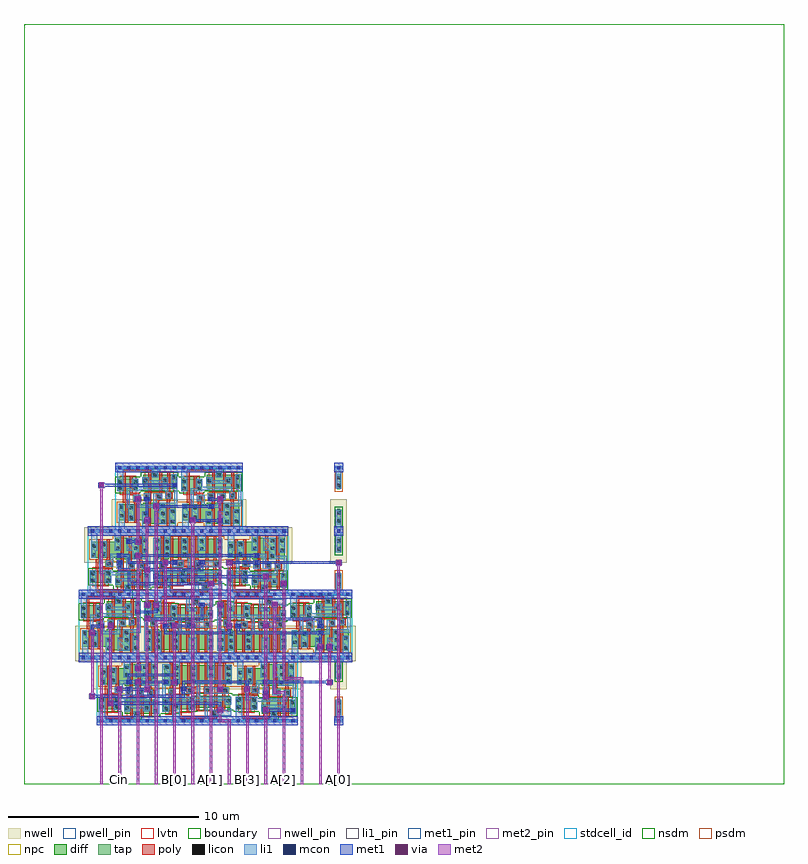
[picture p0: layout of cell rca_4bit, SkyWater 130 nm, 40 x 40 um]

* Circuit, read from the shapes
.subckt rca_4bit A[0] A[1] A[2] A[3] B[0] B[1] B[2] B[3] Cin Cout S[0] S[1] S[2] S[3] VGND VPB VPWR
XM1 n1 A[3] VGND VGND sky130_fd_pr__nfet_01v8_lvt w=0.64 l=0.15
XM2 n2 B[3] n1 VGND sky130_fd_pr__nfet_01v8_lvt w=0.64 l=0.15
XM3 n3 A[1] VGND VGND sky130_fd_pr__nfet_01v8_lvt w=0.64 l=0.15
XM4 n4 B[1] n3 VGND sky130_fd_pr__nfet_01v8_lvt w=0.64 l=0.15
XM5 n5 Cin VGND VGND sky130_fd_pr__nfet_01v8_lvt w=0.64 l=0.15
XM6 n6 B[0] n5 VGND sky130_fd_pr__nfet_01v8_lvt w=0.64 l=0.15
XM7 VGND A[3] n7 VGND sky130_fd_pr__nfet_01v8_lvt w=0.74 l=0.15
XM8 VGND A[1] n8 VGND sky130_fd_pr__nfet_01v8_lvt w=0.74 l=0.15
XM9 n7 B[3] VGND VGND sky130_fd_pr__nfet_01v8_lvt w=0.74 l=0.15
XM10 n9 sky130_fd_sc_hs__xnor2_1_12/A VGND VGND sky130_fd_pr__nfet_01v8_lvt w=0.64 l=0.15
XM11 n10 sky130_fd_sc_hs__xnor2_1_12/B n9 VGND sky130_fd_pr__nfet_01v8_lvt w=0.64 l=0.15
XM12 VGND Cin n11 VGND sky130_fd_pr__nfet_01v8_lvt w=0.74 l=0.15
XM13 sky130_fd_sc_hs__xnor2_1_13/B n2 n7 VGND sky130_fd_pr__nfet_01v8_lvt w=0.74 l=0.15
XM14 n8 B[1] VGND VGND sky130_fd_pr__nfet_01v8_lvt w=0.74 l=0.15
XM15 sky130_fd_sc_hs__xnor2_1_12/B n4 n8 VGND sky130_fd_pr__nfet_01v8_lvt w=0.74 l=0.15
XM16 n11 B[0] VGND VGND sky130_fd_pr__nfet_01v8_lvt w=0.74 l=0.15
XM17 VGND sky130_fd_sc_hs__xnor2_1_12/A n12 VGND sky130_fd_pr__nfet_01v8_lvt w=0.74 l=0.15
XM18 sky130_fd_sc_hs__xnor2_1_10/B n6 n11 VGND sky130_fd_pr__nfet_01v8_lvt w=0.74 l=0.15
XM19 VGND n13 sky130_fd_sc_hs__xnor2_1_12/A VGND sky130_fd_pr__nfet_01v8_lvt w=0.74 l=0.15
XM20 n12 sky130_fd_sc_hs__xnor2_1_12/B VGND VGND sky130_fd_pr__nfet_01v8_lvt w=0.74 l=0.15
XM21 VGND n14 sky130_fd_sc_hs__xnor2_1_5/A VGND sky130_fd_pr__nfet_01v8_lvt w=0.74 l=0.15
XM22 n15 Cin VGND VGND sky130_fd_pr__nfet_01v8_lvt w=0.64 l=0.15
XM23 S[1] n10 n12 VGND sky130_fd_pr__nfet_01v8_lvt w=0.74 l=0.15
XM24 n13 A[0] n15 VGND sky130_fd_pr__nfet_01v8_lvt w=0.64 l=0.15
XM25 VGND n16 Cout VGND sky130_fd_pr__nfet_01v8_lvt w=0.74 l=0.15
XM26 n17 A[1] VGND VGND sky130_fd_pr__nfet_01v8_lvt w=0.64 l=0.15
XM27 n14 B[1] n17 VGND sky130_fd_pr__nfet_01v8_lvt w=0.64 l=0.15
XM28 n18 A[0] n13 VGND sky130_fd_pr__nfet_01v8_lvt w=0.64 l=0.15
XM29 n19 A[3] VGND VGND sky130_fd_pr__nfet_01v8_lvt w=0.64 l=0.15
XM30 VGND B[0] n18 VGND sky130_fd_pr__nfet_01v8_lvt w=0.64 l=0.15
XM31 n16 B[3] n19 VGND sky130_fd_pr__nfet_01v8_lvt w=0.64 l=0.15
XM32 n20 sky130_fd_sc_hs__xnor2_1_13/A VGND VGND sky130_fd_pr__nfet_01v8_lvt w=0.64 l=0.15
XM33 n21 B[1] n14 VGND sky130_fd_pr__nfet_01v8_lvt w=0.64 l=0.15
XM34 n22 sky130_fd_sc_hs__xnor2_1_13/B n20 VGND sky130_fd_pr__nfet_01v8_lvt w=0.64 l=0.15
XM35 VGND sky130_fd_sc_hs__xnor2_1_12/A n21 VGND sky130_fd_pr__nfet_01v8_lvt w=0.64 l=0.15
XM36 n23 B[3] n16 VGND sky130_fd_pr__nfet_01v8_lvt w=0.64 l=0.15
XM37 n24 Cin VGND VGND sky130_fd_pr__nfet_01v8_lvt w=0.64 l=0.15
XM38 VGND sky130_fd_sc_hs__xnor2_1_13/A n23 VGND sky130_fd_pr__nfet_01v8_lvt w=0.64 l=0.15
XM39 n13 B[0] n24 VGND sky130_fd_pr__nfet_01v8_lvt w=0.64 l=0.15
XM40 n25 A[1] VGND VGND sky130_fd_pr__nfet_01v8_lvt w=0.64 l=0.15
XM41 VGND sky130_fd_sc_hs__xnor2_1_13/A n26 VGND sky130_fd_pr__nfet_01v8_lvt w=0.74 l=0.15
XM42 n14 sky130_fd_sc_hs__xnor2_1_12/A n25 VGND sky130_fd_pr__nfet_01v8_lvt w=0.64 l=0.15
XM43 n27 A[3] VGND VGND sky130_fd_pr__nfet_01v8_lvt w=0.64 l=0.15
XM44 n16 sky130_fd_sc_hs__xnor2_1_13/A n27 VGND sky130_fd_pr__nfet_01v8_lvt w=0.64 l=0.15
XM45 n26 sky130_fd_sc_hs__xnor2_1_13/B VGND VGND sky130_fd_pr__nfet_01v8_lvt w=0.74 l=0.15
XM46 VGND n28 sky130_fd_sc_hs__xnor2_1_13/A VGND sky130_fd_pr__nfet_01v8_lvt w=0.74 l=0.15
XM47 S[3] n22 n26 VGND sky130_fd_pr__nfet_01v8_lvt w=0.74 l=0.15
XM48 n29 A[0] VGND VGND sky130_fd_pr__nfet_01v8_lvt w=0.64 l=0.15
XM49 n30 A[2] VGND VGND sky130_fd_pr__nfet_01v8_lvt w=0.64 l=0.15
XM50 n31 sky130_fd_sc_hs__xnor2_1_10/B n29 VGND sky130_fd_pr__nfet_01v8_lvt w=0.64 l=0.15
XM51 n28 B[2] n30 VGND sky130_fd_pr__nfet_01v8_lvt w=0.64 l=0.15
XM52 n32 sky130_fd_sc_hs__xnor2_1_5/A VGND VGND sky130_fd_pr__nfet_01v8_lvt w=0.64 l=0.15
XM53 n33 sky130_fd_sc_hs__xnor2_1_5/B n32 VGND sky130_fd_pr__nfet_01v8_lvt w=0.64 l=0.15
XM54 n34 B[2] n28 VGND sky130_fd_pr__nfet_01v8_lvt w=0.64 l=0.15
XM55 VGND A[0] n35 VGND sky130_fd_pr__nfet_01v8_lvt w=0.74 l=0.15
XM56 VGND sky130_fd_sc_hs__xnor2_1_5/A n34 VGND sky130_fd_pr__nfet_01v8_lvt w=0.64 l=0.15
XM57 VGND sky130_fd_sc_hs__xnor2_1_5/A n36 VGND sky130_fd_pr__nfet_01v8_lvt w=0.74 l=0.15
XM58 n35 sky130_fd_sc_hs__xnor2_1_10/B VGND VGND sky130_fd_pr__nfet_01v8_lvt w=0.74 l=0.15
XM59 n37 A[2] VGND VGND sky130_fd_pr__nfet_01v8_lvt w=0.64 l=0.15
XM60 S[0] n31 n35 VGND sky130_fd_pr__nfet_01v8_lvt w=0.74 l=0.15
XM61 n28 sky130_fd_sc_hs__xnor2_1_5/A n37 VGND sky130_fd_pr__nfet_01v8_lvt w=0.64 l=0.15
XM62 n36 sky130_fd_sc_hs__xnor2_1_5/B VGND VGND sky130_fd_pr__nfet_01v8_lvt w=0.74 l=0.15
XM63 S[2] n33 n36 VGND sky130_fd_pr__nfet_01v8_lvt w=0.74 l=0.15
XM64 n38 A[2] VGND VGND sky130_fd_pr__nfet_01v8_lvt w=0.64 l=0.15
XM65 n39 B[2] n38 VGND sky130_fd_pr__nfet_01v8_lvt w=0.64 l=0.15
XM66 VGND A[2] n40 VGND sky130_fd_pr__nfet_01v8_lvt w=0.74 l=0.15
XM67 n40 B[2] VGND VGND sky130_fd_pr__nfet_01v8_lvt w=0.74 l=0.15
XM68 sky130_fd_sc_hs__xnor2_1_5/B n39 n40 VGND sky130_fd_pr__nfet_01v8_lvt w=0.74 l=0.15
XM69 n2 A[3] VPB VPB sky130_fd_pr__pfet_01v8 w=0.84 l=0.15
XM70 VPB B[3] n2 VPB sky130_fd_pr__pfet_01v8 w=0.84 l=0.15
XM71 n4 A[1] VPWR VPB sky130_fd_pr__pfet_01v8 w=0.84 l=0.15
XM72 VPWR B[1] n4 VPB sky130_fd_pr__pfet_01v8 w=0.84 l=0.15
XM73 n6 Cin VPB VPB sky130_fd_pr__pfet_01v8 w=0.84 l=0.15
XM74 n41 A[3] VPB VPB sky130_fd_pr__pfet_01v8 w=1.12 l=0.15
XM75 VPB B[0] n6 VPB sky130_fd_pr__pfet_01v8 w=0.84 l=0.15
XM76 sky130_fd_sc_hs__xnor2_1_13/B B[3] n41 VPB sky130_fd_pr__pfet_01v8 w=1.12 l=0.15
XM77 n42 A[1] VPWR VPB sky130_fd_pr__pfet_01v8 w=1.12 l=0.15
XM78 n10 sky130_fd_sc_hs__xnor2_1_12/A VPWR VPB sky130_fd_pr__pfet_01v8 w=0.84 l=0.15
XM79 sky130_fd_sc_hs__xnor2_1_12/B B[1] n42 VPB sky130_fd_pr__pfet_01v8 w=1.12 l=0.15
XM80 n43 Cin VPB VPB sky130_fd_pr__pfet_01v8 w=1.12 l=0.15
XM81 VPB n2 sky130_fd_sc_hs__xnor2_1_13/B VPB sky130_fd_pr__pfet_01v8 w=1.12 l=0.15
XM82 VPWR sky130_fd_sc_hs__xnor2_1_12/B n10 VPB sky130_fd_pr__pfet_01v8 w=0.84 l=0.15
XM83 sky130_fd_sc_hs__xnor2_1_10/B B[0] n43 VPB sky130_fd_pr__pfet_01v8 w=1.12 l=0.15
XM84 VPWR n4 sky130_fd_sc_hs__xnor2_1_12/B VPB sky130_fd_pr__pfet_01v8 w=1.12 l=0.15
XM85 n44 sky130_fd_sc_hs__xnor2_1_12/A VPWR VPB sky130_fd_pr__pfet_01v8 w=1.12 l=0.15
XM86 VPB n6 sky130_fd_sc_hs__xnor2_1_10/B VPB sky130_fd_pr__pfet_01v8 w=1.12 l=0.15
XM87 VPB n13 sky130_fd_sc_hs__xnor2_1_12/A VPB sky130_fd_pr__pfet_01v8 w=1.12 l=0.15
XM88 S[1] sky130_fd_sc_hs__xnor2_1_12/B n44 VPB sky130_fd_pr__pfet_01v8 w=1.12 l=0.15
XM89 VPWR n14 sky130_fd_sc_hs__xnor2_1_5/A VPB sky130_fd_pr__pfet_01v8 w=1.12 l=0.15
XM90 n45 Cin VPB VPB sky130_fd_pr__pfet_01v8 w=1 l=0.15
XM91 VPWR n10 S[1] VPB sky130_fd_pr__pfet_01v8 w=1.12 l=0.15
XM92 n13 A[0] n45 VPB sky130_fd_pr__pfet_01v8 w=1 l=0.15
XM93 VPB n16 Cout VPB sky130_fd_pr__pfet_01v8 w=1.12 l=0.15
XM94 n46 A[1] VPWR VPB sky130_fd_pr__pfet_01v8 w=1 l=0.15
XM95 n47 A[0] n13 VPB sky130_fd_pr__pfet_01v8 w=1 l=0.15
XM96 n14 B[1] n46 VPB sky130_fd_pr__pfet_01v8 w=1 l=0.15
XM97 n48 A[3] VPB VPB sky130_fd_pr__pfet_01v8 w=1 l=0.15
XM98 VPB B[0] n47 VPB sky130_fd_pr__pfet_01v8 w=1 l=0.15
XM99 n16 B[3] n48 VPB sky130_fd_pr__pfet_01v8 w=1 l=0.15
XM100 n49 B[1] n14 VPB sky130_fd_pr__pfet_01v8 w=1 l=0.15
XM101 n22 sky130_fd_sc_hs__xnor2_1_13/A VPWR VPB sky130_fd_pr__pfet_01v8 w=0.84 l=0.15
XM102 VPWR sky130_fd_sc_hs__xnor2_1_12/A n49 VPB sky130_fd_pr__pfet_01v8 w=1 l=0.15
XM103 n50 B[3] n16 VPB sky130_fd_pr__pfet_01v8 w=1 l=0.15
XM104 n51 Cin VPB VPB sky130_fd_pr__pfet_01v8 w=1 l=0.15
XM105 VPWR sky130_fd_sc_hs__xnor2_1_13/B n22 VPB sky130_fd_pr__pfet_01v8 w=0.84 l=0.15
XM106 VPB sky130_fd_sc_hs__xnor2_1_13/A n50 VPB sky130_fd_pr__pfet_01v8 w=1 l=0.15
XM107 n13 B[0] n51 VPB sky130_fd_pr__pfet_01v8 w=1 l=0.15
XM108 n52 A[1] VPWR VPB sky130_fd_pr__pfet_01v8 w=1 l=0.15
XM109 n53 sky130_fd_sc_hs__xnor2_1_13/A VPWR VPB sky130_fd_pr__pfet_01v8 w=1.12 l=0.15
XM110 n14 sky130_fd_sc_hs__xnor2_1_12/A n52 VPB sky130_fd_pr__pfet_01v8 w=1 l=0.15
XM111 n54 A[3] VPB VPB sky130_fd_pr__pfet_01v8 w=1 l=0.15
XM112 S[3] sky130_fd_sc_hs__xnor2_1_13/B n53 VPB sky130_fd_pr__pfet_01v8 w=1.12 l=0.15
XM113 n16 sky130_fd_sc_hs__xnor2_1_13/A n54 VPB sky130_fd_pr__pfet_01v8 w=1 l=0.15
XM114 VPB n28 sky130_fd_sc_hs__xnor2_1_13/A VPB sky130_fd_pr__pfet_01v8 w=1.12 l=0.15
XM115 VPWR n22 S[3] VPB sky130_fd_pr__pfet_01v8 w=1.12 l=0.15
XM116 n55 A[2] VPB VPB sky130_fd_pr__pfet_01v8 w=1 l=0.15
XM117 n31 A[0] VPWR VPB sky130_fd_pr__pfet_01v8 w=0.84 l=0.15
XM118 n28 B[2] n55 VPB sky130_fd_pr__pfet_01v8 w=1 l=0.15
XM119 VPWR sky130_fd_sc_hs__xnor2_1_10/B n31 VPB sky130_fd_pr__pfet_01v8 w=0.84 l=0.15
XM120 n33 sky130_fd_sc_hs__xnor2_1_5/A VPB VPB sky130_fd_pr__pfet_01v8 w=0.84 l=0.15
XM121 n56 B[2] n28 VPB sky130_fd_pr__pfet_01v8 w=1 l=0.15
XM122 VPB sky130_fd_sc_hs__xnor2_1_5/B n33 VPB sky130_fd_pr__pfet_01v8 w=0.84 l=0.15
XM123 n57 A[0] VPWR VPB sky130_fd_pr__pfet_01v8 w=1.12 l=0.15
XM124 VPB sky130_fd_sc_hs__xnor2_1_5/A n56 VPB sky130_fd_pr__pfet_01v8 w=1 l=0.15
XM125 S[0] sky130_fd_sc_hs__xnor2_1_10/B n57 VPB sky130_fd_pr__pfet_01v8 w=1.12 l=0.15
XM126 n58 sky130_fd_sc_hs__xnor2_1_5/A VPB VPB sky130_fd_pr__pfet_01v8 w=1.12 l=0.15
XM127 n59 A[2] VPB VPB sky130_fd_pr__pfet_01v8 w=1 l=0.15
XM128 S[2] sky130_fd_sc_hs__xnor2_1_5/B n58 VPB sky130_fd_pr__pfet_01v8 w=1.12 l=0.15
XM129 VPWR n31 S[0] VPB sky130_fd_pr__pfet_01v8 w=1.12 l=0.15
XM130 n28 sky130_fd_sc_hs__xnor2_1_5/A n59 VPB sky130_fd_pr__pfet_01v8 w=1 l=0.15
XM131 VPB n33 S[2] VPB sky130_fd_pr__pfet_01v8 w=1.12 l=0.15
XM132 n39 A[2] VPB VPB sky130_fd_pr__pfet_01v8 w=0.84 l=0.15
XM133 VPB B[2] n39 VPB sky130_fd_pr__pfet_01v8 w=0.84 l=0.15
XM134 n60 A[2] VPB VPB sky130_fd_pr__pfet_01v8 w=1.12 l=0.15
XM135 sky130_fd_sc_hs__xnor2_1_5/B B[2] n60 VPB sky130_fd_pr__pfet_01v8 w=1.12 l=0.15
XM136 VPB n39 sky130_fd_sc_hs__xnor2_1_5/B VPB sky130_fd_pr__pfet_01v8 w=1.12 l=0.15
.ends

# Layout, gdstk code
import gdstk
lib = gdstk.Library(unit=1e-6, precision=1e-09)
def R(c, l, rs):  # rectangles x0, y0, x1, y1
    for r in rs: c.add(gdstk.rectangle(r[:2], r[2:], *l))
def A(c, l, x, y, w, h, nx, ny, dx, dy):  # array of equal rectangles
    R(c, l, [(x+i*dx, y+j*dy, x+i*dx+w, y+j*dy+h) for i in range(nx) for j in range(ny)])
nwell_pin = (64, 16)
nwell = (64, 20)
diff = (65, 20)
tap = (65, 44)
poly = (66, 20)
licon = (66, 44)
li1_pin = (67, 16)
li1 = (67, 20)
mcon = (67, 44)
met1_pin = (68, 16)
met1 = (68, 20)
via = (68, 44)
met2_pin = (69, 16)
met2 = (69, 20)
stdcell_id = (81, 4)
nsdm = (93, 44)
psdm = (94, 20)
npc = (95, 20)
pwell_pin = (122, 16)
lvtn = (125, 44)
boundary = (235, 4)

sky130_fd_sc_hs__maj3_1 = lib.new_cell('sky130_fd_sc_hs__maj3_1')
R(sky130_fd_sc_hs__maj3_1, nwell_pin, [(0,3.085,3.84,3.33)])
R(sky130_fd_sc_hs__maj3_1, nwell, [(-0.19,1.66,4.03,3.52)])
R(sky130_fd_sc_hs__maj3_1, diff, [(0.135,0.5,0.82,0.6), (0.135,0.6,1.79,0.68), (0.135,0.68,3.645,0.86), (0.135,0.86,3.68,1.16), (0.17,1.16,3.68,1.24), (1.615,1.24,3.645,1.32), (0.18,1.84,0.89,1.92), (0.18,1.92,3.705,2.92), (0.18,2.92,0.89,2.96)])
R(sky130_fd_sc_hs__maj3_1, poly, [(0.965,0.11,2.975,0.26), (0.965,0.26,1.115,1.315), (2.645,0.26,2.975,0.57), (0.42,0.37,0.57,1.35), (1.355,0.47,1.505,1.43), (1.865,0.55,2.015,1.43), (2.255,0.55,2.405,1.4), (3.245,0.55,3.395,1.43), (2.825,0.57,2.975,1.395), (0.965,1.315,1.145,1.845), (0.42,1.35,0.755,1.68), (2.825,1.395,3.005,1.845), (2.255,1.4,2.615,1.76), (1.355,1.43,2.045,1.76), (3.245,1.43,3.575,1.76), (0.46,1.68,0.64,1.765), (1.385,1.76,1.565,1.845), (1.865,1.76,2.045,1.845), (2.285,1.76,2.465,1.845), (3.245,1.76,3.425,1.845), (0.475,1.765,0.625,3.09), (0.98,1.845,1.13,3.05), (1.4,1.845,1.55,3.05), (1.88,1.845,2.03,3.05), (2.3,1.845,2.45,3.05), (2.84,1.845,2.99,3.05), (3.26,1.845,3.41,3.05)])
A(sky130_fd_sc_hs__maj3_1, licon, 0.24, 1.93, 0.17, 0.17, 1, 3, 0, 0.4)
A(sky130_fd_sc_hs__maj3_1, licon, 0.74, 2.01, 0.17, 0.17, 1, 3, 0, 0.34)
A(sky130_fd_sc_hs__maj3_1, licon, 1.645, 2.01, 0.17, 0.17, 1, 3, 0, 0.34)
A(sky130_fd_sc_hs__maj3_1, licon, 3.475, 2.01, 0.17, 0.17, 1, 3, 0, 0.34)
R(sky130_fd_sc_hs__maj3_1, licon, [(2.725,0.32,2.895,0.49), (0.195,0.56,0.365,0.73), (1.56,0.66,1.73,0.83), (0.715,0.685,0.885,0.855), (2.53,0.74,2.7,0.91), (0.195,0.93,0.365,1.1), (3.45,0.965,3.62,1.135), (1.56,1.01,1.73,1.18), (0.505,1.43,0.675,1.6), (1.435,1.51,1.605,1.68), (2.365,1.51,2.535,1.68), (3.325,1.51,3.495,1.68), (2.555,2.29,2.725,2.46), (2.555,2.69,2.725,2.86)])
A(sky130_fd_sc_hs__maj3_1, li1_pin, 0.155, 1.95, 0.17, 0.17, 1, 3, 0, 0.37)
R(sky130_fd_sc_hs__maj3_1, li1_pin, [(3.515,0.47,3.685,0.64), (1.115,1.58,1.285,1.75), (2.555,1.58,2.725,1.75)])
R(sky130_fd_sc_hs__maj3_1, li1, [(0,-0.085,3.84,0.085), (0.615,0.085,0.99,0.91), (2.305,0.085,2.475,0.74), (2.645,0.255,3.715,0.57), (0.085,0.48,0.445,1.18), (3.485,0.57,3.715,0.67), (1.48,0.58,1.81,1.09), (2.305,0.74,2.85,0.91), (3.37,0.84,3.7,1.09), (0.615,1.09,3.7,1.26), (0.085,1.18,0.255,1.85), (0.615,1.26,0.785,1.35), (1.895,1.26,2.065,1.95), (0.425,1.35,0.785,1.68), (1.085,1.43,1.685,1.78), (2.285,1.43,3.575,1.76), (2.285,1.76,2.755,1.78), (0.085,1.85,0.49,2.98), (3.395,1.93,3.725,1.95), (0.66,1.95,0.99,3.245), (1.565,1.95,3.725,2.12), (1.565,2.12,1.895,2.94), (3.395,2.12,3.725,2.94), (2.435,2.29,2.84,3.245), (0,3.245,3.84,3.415)])
A(sky130_fd_sc_hs__maj3_1, mcon, 0.155, -0.085, 0.17, 0.17, 8, 2, 0.48, 3.33)
R(sky130_fd_sc_hs__maj3_1, met1_pin, [(0,0,3.84,0.245), (0,3.085,3.84,3.33)])
R(sky130_fd_sc_hs__maj3_1, met1, [(0,-0.245,3.84,0.245), (0,3.085,3.84,3.575)])
R(sky130_fd_sc_hs__maj3_1, stdcell_id, [(0,0,3.84,3.33)])
R(sky130_fd_sc_hs__maj3_1, nsdm, [(0.01,0.375,0.945,0.475), (0.01,0.475,1.915,0.555), (0.01,0.555,3.77,0.735), (0.01,0.735,3.805,1.285), (0.045,1.285,3.805,1.365), (1.49,1.365,3.77,1.445)])
R(sky130_fd_sc_hs__maj3_1, psdm, [(0.055,1.715,1.015,1.795), (0.055,1.795,3.83,3.045), (0.055,3.045,1.015,3.085)])
R(sky130_fd_sc_hs__maj3_1, npc, [(2.625,0.22,2.995,0.59), (0.405,1.33,0.775,1.7), (1.335,1.41,1.705,1.78), (2.265,1.41,2.635,1.78), (3.225,1.41,3.595,1.78)])
R(sky130_fd_sc_hs__maj3_1, pwell_pin, [(0,0,3.84,0.245)])
R(sky130_fd_sc_hs__maj3_1, lvtn, [(0.24,0.32,0.75,0.42), (0.24,0.42,1.685,0.5), (0.24,0.5,3.575,1.42), (1.685,1.42,3.575,1.5)])
R(sky130_fd_sc_hs__maj3_1, boundary, [(0,0,3.84,3.33)])
sky130_fd_sc_hs__maj3_1.add(gdstk.Label('VNB', (1.92,0.122), layer=64, texttype=59))
sky130_fd_sc_hs__maj3_1.add(gdstk.Label('VPB', (1.92,3.207), layer=64, texttype=5))
sky130_fd_sc_hs__maj3_1.add(gdstk.Label('VPWR', (1.92,3.207), layer=68, texttype=5))
sky130_fd_sc_hs__maj3_1.add(gdstk.Label('VGND', (1.92,0.122), layer=68, texttype=5))
sky130_fd_sc_hs__maj3_1.add(gdstk.Label('A', (3.6,0.555), layer=67, texttype=5))
sky130_fd_sc_hs__maj3_1.add(gdstk.Label('B', (1.2,1.665), layer=67, texttype=5))
sky130_fd_sc_hs__maj3_1.add(gdstk.Label('X', (0.24,2.775), layer=67, texttype=5))
sky130_fd_sc_hs__maj3_1.add(gdstk.Label('X', (0.24,2.405), layer=67, texttype=5))
sky130_fd_sc_hs__maj3_1.add(gdstk.Label('X', (0.24,2.035), layer=67, texttype=5))
sky130_fd_sc_hs__maj3_1.add(gdstk.Label('C', (2.64,1.665), layer=67, texttype=5))

sky130_fd_sc_hs__xnor2_1 = lib.new_cell('sky130_fd_sc_hs__xnor2_1')
R(sky130_fd_sc_hs__xnor2_1, nwell_pin, [(0,3.085,3.36,3.33)])
R(sky130_fd_sc_hs__xnor2_1, nwell, [(-0.19,1.66,3.55,3.52)])
R(sky130_fd_sc_hs__xnor2_1, diff, [(1.965,0.19,2.24,0.37), (1.465,0.37,3.205,1.11), (0.135,0.595,1.195,1.235), (1.465,1.84,3.165,1.925), (0.195,1.925,3.165,2.765), (1.435,2.765,3.165,2.96)])
R(sky130_fd_sc_hs__xnor2_1, poly, [(0.41,0.105,1.89,0.255), (2.315,0.24,2.465,1.35), (2.745,0.24,2.895,1.3), (0.41,0.255,0.56,1.7), (1.74,0.255,1.89,1.35), (0.77,0.465,0.92,1.31), (2.675,1.3,3.005,1.63), (0.77,1.31,1.275,1.46), (1.515,1.35,1.895,1.68), (2.135,1.35,2.465,1.68), (0.945,1.46,1.275,1.765), (2.705,1.63,2.885,1.765), (1.715,1.68,1.895,1.765), (2.135,1.68,2.315,1.765), (0.41,1.7,0.705,1.85), (0.975,1.765,1.155,1.85), (1.73,1.765,1.88,3.09), (2.15,1.765,2.3,3.09), (2.72,1.765,2.87,3.09), (0.54,1.85,0.69,2.895), (0.99,1.85,1.14,2.895)])
A(sky130_fd_sc_hs__xnor2_1, licon, 2.435, 1.93, 0.17, 0.17, 1, 3, 0, 0.4)
R(sky130_fd_sc_hs__xnor2_1, licon, [(2.015,0.285,2.185,0.455), (2.975,0.43,3.145,0.6), (1.515,0.59,1.685,0.76), (2.52,0.59,2.69,0.76), (0.185,0.655,0.355,0.825), (0.975,0.655,1.145,0.825), (2.975,0.88,3.145,1.05), (0.185,1.005,0.355,1.175), (0.975,1.005,1.145,1.175), (2.755,1.38,2.925,1.55), (1.595,1.43,1.765,1.6), (2.215,1.43,2.385,1.6), (1.025,1.515,1.195,1.685), (0.255,1.985,0.425,2.155), (0.755,2.03,0.925,2.2), (2.935,2.215,3.105,2.385), (1.495,2.33,1.665,2.5), (0.255,2.45,0.425,2.62), (0.755,2.535,0.925,2.705), (1.495,2.73,1.665,2.9), (2.935,2.73,3.105,2.9)])
R(sky130_fd_sc_hs__xnor2_1, li1_pin, [(1.115,1.58,1.285,1.75), (1.595,1.58,1.765,1.75), (2.075,2.32,2.245,2.49)])
R(sky130_fd_sc_hs__xnor2_1, li1, [(0,-0.085,3.36,0.085), (0.105,0.085,0.435,1.255), (1.935,0.085,2.265,0.5), (2.975,0.35,3.275,1.13), (1.435,0.51,1.765,0.67), (2.44,0.51,2.77,0.67), (0.895,0.575,1.225,1.01), (1.435,0.67,2.77,0.84), (0.895,1.01,2.805,1.085), (0.605,1.085,2.805,1.18), (3.105,1.13,3.275,1.85), (0.605,1.18,1.225,1.255), (2.635,1.18,2.805,1.3), (0.605,1.255,0.775,1.95), (2.635,1.3,2.935,1.63), (1.515,1.35,1.845,1.78), (2.015,1.35,2.465,1.68), (0.945,1.435,1.345,1.78), (2.015,1.68,2.185,1.95), (1.175,1.78,1.345,1.95), (2.355,1.85,3.275,2.02), (0.175,1.905,0.425,2.29), (0.605,1.95,1.005,2.12), (1.175,1.95,2.185,2.12), (2.355,2.02,2.685,2.29), (0.675,2.12,1.005,2.785), (2.855,2.19,3.185,3.245), (0.175,2.29,0.505,3.245), (1.415,2.29,1.745,3.245), (2.045,2.29,2.685,2.98), (0,3.245,3.36,3.415)])
A(sky130_fd_sc_hs__xnor2_1, mcon, 0.155, -0.085, 0.17, 0.17, 7, 2, 0.48, 3.33)
R(sky130_fd_sc_hs__xnor2_1, met1_pin, [(0,0,3.36,0.245), (0,3.085,3.36,3.33)])
R(sky130_fd_sc_hs__xnor2_1, met1, [(0,-0.245,3.36,0.245), (0,3.085,3.36,3.575)])
R(sky130_fd_sc_hs__xnor2_1, stdcell_id, [(0,0,3.36,3.33)])
R(sky130_fd_sc_hs__xnor2_1, nsdm, [(1.84,0.065,2.365,0.245), (1.34,0.245,3.33,0.47), (0.01,0.47,3.33,1.235), (0.01,1.235,1.32,1.36)])
R(sky130_fd_sc_hs__xnor2_1, psdm, [(1.34,1.715,3.29,1.8), (0.07,1.8,3.29,2.89), (1.31,2.89,3.29,3.085)])
R(sky130_fd_sc_hs__xnor2_1, npc, [(2.655,1.28,3.025,1.33), (1.495,1.33,3.025,1.415), (0.925,1.415,3.025,1.65), (0.925,1.65,2.485,1.7), (0.925,1.7,1.295,1.785)])
R(sky130_fd_sc_hs__xnor2_1, pwell_pin, [(0,0,3.36,0.245)])
R(sky130_fd_sc_hs__xnor2_1, lvtn, [(1.56,0.19,3.075,1.29), (0.23,0.415,1.1,1.415)])
R(sky130_fd_sc_hs__xnor2_1, boundary, [(0,0,3.36,3.33)])
sky130_fd_sc_hs__xnor2_1.add(gdstk.Label('VNB', (1.68,0.122), layer=64, texttype=59))
sky130_fd_sc_hs__xnor2_1.add(gdstk.Label('VPB', (1.68,3.207), layer=64, texttype=5))
sky130_fd_sc_hs__xnor2_1.add(gdstk.Label('VPWR', (1.68,3.207), layer=68, texttype=5))
sky130_fd_sc_hs__xnor2_1.add(gdstk.Label('VGND', (1.68,0.122), layer=68, texttype=5))
sky130_fd_sc_hs__xnor2_1.add(gdstk.Label('A', (1.68,1.665), layer=67, texttype=5))
sky130_fd_sc_hs__xnor2_1.add(gdstk.Label('Y', (2.16,2.405), layer=67, texttype=5))
sky130_fd_sc_hs__xnor2_1.add(gdstk.Label('B', (1.2,1.665), layer=67, texttype=5))

sky130_fd_sc_hs__tapvpwr = lib.new_cell('sky130_fd_sc_hs__tapvpwrvgnd_1')
R(sky130_fd_sc_hs__tapvpwr, nwell, [(-0.19,1.66,0.67,3.52)])
R(sky130_fd_sc_hs__tapvpwr, tap, [(0.155,0.32,0.325,1.145), (0.155,2.17,0.325,3.01)])
R(sky130_fd_sc_hs__tapvpwr, licon, [(0.155,0.44,0.325,0.61), (0.155,0.855,0.325,1.025), (0.155,2.29,0.325,2.46), (0.155,2.72,0.325,2.89)])
R(sky130_fd_sc_hs__tapvpwr, li1, [(0,-0.085,0.48,0.085), (0.09,0.085,0.39,1.105), (0.09,2.205,0.39,3.245), (0,3.245,0.48,3.415)])
R(sky130_fd_sc_hs__tapvpwr, mcon, [(0.155,-0.085,0.325,0.085), (0.155,3.245,0.325,3.415)])
R(sky130_fd_sc_hs__tapvpwr, met1_pin, [(0,0,0.48,0.245), (0,3.085,0.48,3.33)])
R(sky130_fd_sc_hs__tapvpwr, met1, [(0,-0.245,0.48,0.245), (0,3.085,0.48,3.575)])
R(sky130_fd_sc_hs__tapvpwr, nsdm, [(0.03,2.045,0.45,3.135)])
R(sky130_fd_sc_hs__tapvpwr, psdm, [(0.03,0.195,0.45,1.27)])
R(sky130_fd_sc_hs__tapvpwr, boundary, [(0,0,0.48,3.33)])
sky130_fd_sc_hs__tapvpwr.add(gdstk.Label('VPWR', (0.24,3.207), layer=68, texttype=5))
sky130_fd_sc_hs__tapvpwr.add(gdstk.Label('VGND', (0.24,0.122), layer=68, texttype=5))

rca_4bit = lib.new_cell('rca_4bit')
A(rca_4bit, li1, 10.23, 4.91, 0.17, 0.17, 1, 3, 0, 4.44)
R(rca_4bit, li1, [(10.23,3.8,10.4,3.97), (14.07,3.8,14.24,3.97), (12.63,4.72,12.8,4.89), (5.43,4.91,5.6,5.08), (8.31,4.91,8.48,5.08), (5.43,5.28,5.6,5.45), (7.35,5.28,7.52,5.45), (12.63,5.28,12.8,5.45), (5.91,6.02,6.08,6.19), (15.99,7.13,16.16,7.3), (15.51,7.87,15.68,8.04), (3.99,8.24,4.16,8.41), (4.47,8.24,4.64,8.41), (7.35,8.24,7.52,8.41), (8.79,8.24,8.96,8.41), (11.19,8.24,11.36,8.41), (12.63,8.24,12.8,8.41), (15.51,8.24,15.68,8.41), (5.91,8.98,6.08,9.15), (6.39,9.35,6.56,9.52), (9.27,9.35,9.44,9.52), (13.11,9.35,13.28,9.52), (9.75,10.46,9.92,10.63), (13.59,10.46,13.76,10.63), (6.87,10.83,7.04,11), (4.95,11.57,5.12,11.74), (7.83,11.57,8,11.74), (9.27,11.57,9.44,11.74), (12.15,11.57,12.32,11.74), (4.95,11.94,5.12,12.11), (12.15,11.94,12.32,12.11), (5.43,12.68,5.6,12.85), (9.75,14.53,9.92,14.7), (5.91,14.9,6.08,15.07), (6.39,14.9,6.56,15.07), (9.75,14.9,9.92,15.07), (7.83,15.64,8,15.81)])
A(rca_4bit, mcon, 10.23, 4.91, 0.17, 0.17, 1, 3, 0, 4.44)
R(rca_4bit, mcon, [(10.23,3.8,10.4,3.97), (14.07,3.8,14.24,3.97), (12.63,4.72,12.8,4.89), (5.43,4.91,5.6,5.08), (8.31,4.91,8.48,5.08), (5.43,5.28,5.6,5.45), (7.35,5.28,7.52,5.45), (12.63,5.28,12.8,5.45), (5.91,6.02,6.08,6.19), (15.99,7.13,16.16,7.3), (15.51,7.87,15.68,8.04), (3.99,8.24,4.16,8.41), (4.47,8.24,4.64,8.41), (7.35,8.24,7.52,8.41), (8.79,8.24,8.96,8.41), (11.19,8.24,11.36,8.41), (12.63,8.24,12.8,8.41), (15.51,8.24,15.68,8.41), (5.91,8.98,6.08,9.15), (6.39,9.35,6.56,9.52), (9.27,9.35,9.44,9.52), (13.11,9.35,13.28,9.52), (9.75,10.46,9.92,10.63), (13.59,10.46,13.76,10.63), (6.87,10.83,7.04,11), (4.95,11.57,5.12,11.74), (7.83,11.57,8,11.74), (9.27,11.57,9.44,11.74), (12.15,11.57,12.32,11.74), (4.95,11.94,5.12,12.11), (12.15,11.94,12.32,12.11), (5.43,12.68,5.6,12.85), (9.75,14.53,9.92,14.7), (5.91,14.9,6.08,15.07), (6.39,14.9,6.56,15.07), (9.75,14.9,9.92,15.07), (7.83,15.64,8,15.81)])
R(rca_4bit, met1, [(10.16,3.75,10.48,4.01), (12.56,3.75,12.88,3.81), (14.01,3.77,14.3,3.81), (12.56,3.81,14.3,3.95), (12.56,3.95,12.88,4.01), (14.01,3.95,14.3,4), (10.25,4.01,10.39,4.18), (4.4,4.12,4.72,4.18), (4.4,4.18,10.39,4.32), (4.4,4.32,4.72,4.38), (3.44,4.49,3.76,4.55), (12.56,4.49,12.88,4.75), (3.44,4.55,8.47,4.69), (3.44,4.69,3.76,4.75), (8.33,4.69,8.47,4.88), (12.57,4.75,12.86,4.92), (4.88,4.86,5.2,4.92), (6.32,4.86,6.64,4.92), (10.16,4.86,10.48,5.12), (11.6,4.86,11.92,5.12), (5.37,4.88,5.66,4.92), (8.25,4.88,8.54,5.11), (4.88,4.92,6.64,5.06), (4.88,5.06,5.2,5.12), (5.37,5.06,5.66,5.11), (6.32,5.06,6.64,5.12), (8.33,5.11,8.47,5.29), (11.69,5.12,11.83,5.29), (5.84,5.23,6.16,5.29), (7.76,5.23,8.08,5.49), (15.92,5.23,16.24,5.29), (5.37,5.25,5.66,5.48), (7.29,5.25,7.58,5.29), (12.57,5.25,12.86,5.29), (5.84,5.29,7.58,5.43), (8.33,5.29,11.83,5.43), (12.57,5.29,16.24,5.43), (5.84,5.43,6.16,5.49), (7.29,5.43,7.58,5.48), (12.57,5.43,12.86,5.48), (15.92,5.43,16.24,5.49), (5.45,5.48,5.59,5.66), (7.85,5.49,7.99,5.66), (5.45,5.66,7.99,5.8), (5.84,5.97,6.16,6.23), (15.44,7.08,15.76,7.34), (15.92,7.08,16.24,7.34), (15.53,7.34,15.67,7.84), (3.44,7.82,3.76,8.08), (15.45,7.84,15.74,7.88), (7.37,7.88,10.87,8.02), (11.21,7.88,15.74,8.02), (7.37,8.02,7.51,8.21), (10.73,8.02,10.87,8.19), (11.21,8.02,11.35,8.21), (15.45,8.02,15.74,8.07), (3.53,8.08,3.67,8.25), (4.4,8.19,4.72,8.45), (7.76,8.19,8.08,8.25), (10.64,8.19,10.96,8.45), (12.56,8.19,12.88,8.45), (3.93,8.21,4.22,8.25), (7.29,8.21,7.58,8.44), (8.73,8.21,9.02,8.25), (11.13,8.21,11.42,8.44), (15.45,8.21,15.74,8.44), (3.53,8.25,4.22,8.39), (7.76,8.25,9.02,8.39), (3.93,8.39,4.22,8.44), (7.76,8.39,8.08,8.45), (8.73,8.39,9.02,8.44), (15.53,8.44,15.67,8.62), (6.32,8.56,6.64,8.62), (6.32,8.62,9.43,8.76), (13.13,8.62,15.67,8.76), (6.32,8.76,6.64,8.82), (9.29,8.76,9.43,9.32), (13.13,8.76,13.27,9.3), (5.85,8.95,6.14,8.99), (5.85,8.99,7.03,9.13), (5.85,9.13,6.14,9.18), (6.89,9.13,7.03,9.3), (6.32,9.3,6.64,9.56), (6.8,9.3,7.12,9.56), (10.16,9.3,10.48,9.56), (13.04,9.3,13.36,9.56), (9.21,9.32,9.5,9.55), (9.68,10.41,10,10.47), (13.52,10.41,13.84,10.67), (5.45,10.47,10,10.61), (5.45,10.61,5.59,11.21), (9.68,10.61,10,10.67), (12.56,10.78,12.88,10.84), (6.81,10.8,7.1,10.84), (6.81,10.84,12.88,10.98), (6.81,10.98,7.1,11.03), (12.56,10.98,12.88,11.04), (6.32,11.15,6.64,11.21), (4.97,11.21,5.59,11.35), (6.32,11.21,9.43,11.35), (4.97,11.35,5.11,11.54), (6.32,11.35,6.64,11.41), (9.29,11.35,9.43,11.54), (7.28,11.52,7.6,11.58), (10.64,11.52,10.96,11.58), (16.4,11.52,16.72,11.58), (4.89,11.54,5.18,11.77), (7.77,11.54,8.06,11.58), (9.21,11.54,9.5,11.77), (12.09,11.54,12.38,11.58), (5.45,11.58,8.06,11.72), (10.64,11.58,16.72,11.72), (5.45,11.72,5.59,11.95), (7.28,11.72,7.6,11.78), (7.77,11.72,8.06,11.77), (10.64,11.72,10.96,11.78), (12.09,11.72,12.38,11.77), (16.4,11.72,16.72,11.78), (5.84,11.89,6.16,11.95), (4.89,11.91,5.18,11.95), (12.09,11.91,12.38,11.95), (4.89,11.95,5.59,12.09), (5.84,11.95,12.38,12.09), (4.89,12.09,5.18,12.14), (5.84,12.09,6.16,12.15), (12.09,12.09,12.38,12.14), (5.84,12.63,6.16,12.69), (5.37,12.65,5.66,12.69), (5.37,12.69,6.16,12.83), (5.37,12.83,5.66,12.88), (5.84,12.83,6.16,12.89), (6.32,13.74,6.64,14), (8.72,13.74,9.04,13.8), (10.17,13.76,10.46,13.8), (8.72,13.8,10.46,13.94), (8.72,13.94,9.04,14), (10.17,13.94,10.46,13.99), (6.41,14,6.55,14.87), (6.8,14.48,7.12,14.54), (9.69,14.5,9.98,14.54), (6.8,14.54,9.98,14.68), (6.8,14.68,7.12,14.74), (9.69,14.68,9.98,14.73), (5.84,14.85,6.16,15.11), (10.16,14.85,10.48,14.91), (6.33,14.87,6.62,15.1), (9.69,14.87,9.98,14.91), (9.69,14.91,10.48,15.05), (9.69,15.05,9.98,15.1), (10.16,15.05,10.48,15.11), (3.92,15.59,4.24,15.65), (7.77,15.61,8.06,15.65), (3.92,15.65,8.06,15.79), (3.92,15.79,4.24,15.85), (7.77,15.79,8.06,15.84)])
R(rca_4bit, via, [(10.245,3.805,10.395,3.955), (12.645,3.805,12.795,3.955), (4.485,4.175,4.635,4.325), (3.525,4.545,3.675,4.695), (12.645,4.545,12.795,4.695), (4.965,4.915,5.115,5.065), (6.405,4.915,6.555,5.065), (10.245,4.915,10.395,5.065), (11.685,4.915,11.835,5.065), (5.925,5.285,6.075,5.435), (7.845,5.285,7.995,5.435), (16.005,5.285,16.155,5.435), (5.925,6.025,6.075,6.175), (15.525,7.135,15.675,7.285), (16.005,7.135,16.155,7.285), (3.525,7.875,3.675,8.025), (4.485,8.245,4.635,8.395), (7.845,8.245,7.995,8.395), (10.725,8.245,10.875,8.395), (12.645,8.245,12.795,8.395), (6.405,8.615,6.555,8.765), (6.405,9.355,6.555,9.505), (6.885,9.355,7.035,9.505), (10.245,9.355,10.395,9.505), (13.125,9.355,13.275,9.505), (9.765,10.465,9.915,10.615), (13.605,10.465,13.755,10.615), (12.645,10.835,12.795,10.985), (6.405,11.205,6.555,11.355), (7.365,11.575,7.515,11.725), (10.725,11.575,10.875,11.725), (16.485,11.575,16.635,11.725), (5.925,11.945,6.075,12.095), (5.925,12.685,6.075,12.835), (6.405,13.795,6.555,13.945), (8.805,13.795,8.955,13.945), (6.885,14.535,7.035,14.685), (5.925,14.905,6.075,15.055), (10.245,14.905,10.395,15.055), (4.005,15.645,4.155,15.795)])
A(rca_4bit, met2_pin, 4.01, 0, 0.14, 0.48, 14, 1, 0.96, 0)
R(rca_4bit, met2, [(4.01,0,4.15,15.56), (4.97,0,5.11,4.83), (5.93,0,6.07,5.2), (6.89,0,7.03,8.44), (7.85,0,7.99,5.2), (8.81,0,8.95,13.71), (9.77,0,9.91,10.38), (10.73,0,10.87,3.26), (11.69,0,11.83,4.83), (12.65,0,12.79,3.72), (13.61,0,13.75,4.74), (14.57,0,14.71,5.48), (15.53,0,15.67,7.05), (16.49,0,16.63,11.49), (10.25,3.26,10.87,3.4), (10.25,3.4,10.39,3.72), (10.19,3.72,10.45,4.04), (12.59,3.72,12.85,4.04), (4.43,4.09,4.69,4.41), (4.49,4.41,4.63,8.16), (3.47,4.46,3.73,4.78), (12.59,4.46,12.85,4.78), (13.13,4.74,13.75,4.88), (3.53,4.78,3.67,7.79), (12.65,4.78,12.79,8.16), (4.91,4.83,5.17,5.15), (6.35,4.83,6.61,5.15), (10.19,4.83,10.45,5.15), (11.63,4.83,11.89,5.15), (13.13,4.88,13.27,9.27), (6.41,5.15,6.55,8.53), (10.25,5.15,10.39,9.27), (5.87,5.2,6.13,5.52), (7.79,5.2,8.05,5.52), (15.95,5.2,16.21,5.52), (13.61,5.48,14.71,5.62), (7.85,5.52,7.99,8.16), (16.01,5.52,16.15,7.05), (13.61,5.62,13.75,10.38), (5.87,5.94,6.13,6.26), (5.93,6.26,6.07,11.86), (15.47,7.05,15.73,7.37), (15.95,7.05,16.21,7.37), (3.47,7.79,3.73,8.11), (4.43,8.16,4.69,8.48), (7.79,8.16,8.05,8.48), (10.67,8.16,10.93,8.48), (12.59,8.16,12.85,8.48), (6.89,8.44,7.51,8.58), (10.73,8.48,10.87,11.49), (12.65,8.48,12.79,10.75), (6.35,8.53,6.61,8.85), (7.37,8.58,7.51,11.49), (6.35,9.27,6.61,9.59), (6.83,9.27,7.09,9.59), (10.19,9.27,10.45,9.59), (13.07,9.27,13.33,9.59), (6.41,9.59,6.55,11.12), (6.89,9.59,7.03,14.45), (10.25,9.59,10.39,14.82), (9.71,10.38,9.97,10.7), (13.55,10.38,13.81,10.7), (12.59,10.75,12.85,11.07), (6.35,11.12,6.61,11.44), (6.41,11.44,6.55,13.71), (7.31,11.49,7.57,11.81), (10.67,11.49,10.93,11.81), (16.43,11.49,16.69,11.81), (5.87,11.86,6.13,12.18), (5.87,12.6,6.13,12.92), (5.93,12.92,6.07,14.82), (6.35,13.71,6.61,14.03), (8.75,13.71,9.01,14.03), (6.83,14.45,7.09,14.77), (5.87,14.82,6.13,15.14), (10.19,14.82,10.45,15.14), (3.95,15.56,4.21,15.88)])
R(rca_4bit, nsdm, [(7.17,3.705,7.21,4.565), (10.97,3.885,11.05,4.065), (11.005,4.065,11.05,4.69), (10.045,8.625,10.125,8.705), (13.885,8.63,13.93,9.255), (10.045,8.705,10.09,9.255), (6.21,8.755,6.25,9.615), (10.01,9.255,10.09,9.435), (13.85,9.255,13.93,9.435), (5.245,9.745,5.725,9.925), (4.72,9.925,5.725,10.055), (4.72,10.055,5.2,10.235), (6.69,10.365,6.73,11.225), (10.49,10.545,10.57,10.725), (10.525,10.725,10.57,11.35), (8.13,15.415,8.17,16.18)])
R(rca_4bit, psdm, [(7.13,5.045,7.255,6.415), (11.03,5.13,11.11,6.22), (6.17,6.905,6.295,8.275), (10.07,6.945,10.135,8.195), (13.91,7.1,13.99,8.19), (6.65,11.705,6.775,13.075), (10.55,11.79,10.63,12.88), (8.09,13.76,8.23,14.85)])
R(rca_4bit, boundary, [(0,0,40,40)])
rca_4bit.add(gdstk.Reference(sky130_fd_sc_hs__maj3_1, (6.24,9.99), x_reflection=True))
rca_4bit.add(gdstk.Reference(sky130_fd_sc_hs__xnor2_1, (2.88,9.99), x_reflection=True))
rca_4bit.add(gdstk.Reference(sky130_fd_sc_hs__xnor2_1, (3.84,3.33)))
rca_4bit.add(gdstk.Reference(sky130_fd_sc_hs__maj3_1, (7.2,3.33)))
rca_4bit.add(gdstk.Reference(sky130_fd_sc_hs__maj3_1, (10.08,9.99), x_reflection=True))
rca_4bit.add(gdstk.Reference(sky130_fd_sc_hs__xnor2_1, (11.04,3.33)))
rca_4bit.add(gdstk.Reference(sky130_fd_sc_hs__xnor2_1, (13.92,9.99), x_reflection=True))
rca_4bit.add(gdstk.Reference(sky130_fd_sc_hs__tapvpwr, (16.32,3.33)))
rca_4bit.add(gdstk.Reference(sky130_fd_sc_hs__maj3_1, (6.72,9.99)))
rca_4bit.add(gdstk.Reference(sky130_fd_sc_hs__xnor2_1, (3.36,9.99)))
rca_4bit.add(gdstk.Reference(sky130_fd_sc_hs__xnor2_1, (10.56,9.99)))
rca_4bit.add(gdstk.Reference(sky130_fd_sc_hs__tapvpwr, (16.32,9.99)))
rca_4bit.add(gdstk.Reference(sky130_fd_sc_hs__xnor2_1, (4.8,16.65), x_reflection=True))
rca_4bit.add(gdstk.Reference(sky130_fd_sc_hs__xnor2_1, (8.16,16.65), x_reflection=True))
rca_4bit.add(gdstk.Reference(sky130_fd_sc_hs__tapvpwr, (16.32,16.65), x_reflection=True))
rca_4bit.add(gdstk.Label('A[0]', (16.56,0.24), layer=69, texttype=5))
rca_4bit.add(gdstk.Label('A[1]', (9.84,0.24), layer=69, texttype=5))
rca_4bit.add(gdstk.Label('A[2]', (13.68,0.24), layer=69, texttype=5))
rca_4bit.add(gdstk.Label('A[3]', (10.8,0.24), layer=69, texttype=5))
rca_4bit.add(gdstk.Label('B[0]', (7.92,0.24), layer=69, texttype=5))
rca_4bit.add(gdstk.Label('B[1]', (6.96,0.24), layer=69, texttype=5))
rca_4bit.add(gdstk.Label('B[2]', (15.6,0.24), layer=69, texttype=5))
rca_4bit.add(gdstk.Label('B[3]', (11.76,0.24), layer=69, texttype=5))
rca_4bit.add(gdstk.Label('Cin', (5.04,0.24), layer=69, texttype=5))
rca_4bit.add(gdstk.Label('Cout', (6,0.24), layer=69, texttype=5))
rca_4bit.add(gdstk.Label('S[0]', (14.64,0.24), layer=69, texttype=5))
rca_4bit.add(gdstk.Label('S[1]', (4.08,0.24), layer=69, texttype=5))
rca_4bit.add(gdstk.Label('S[2]', (12.72,0.24), layer=69, texttype=5))
rca_4bit.add(gdstk.Label('S[3]', (8.88,0.24), layer=69, texttype=5))

lib.write_gds('rca_4bit.gds')
